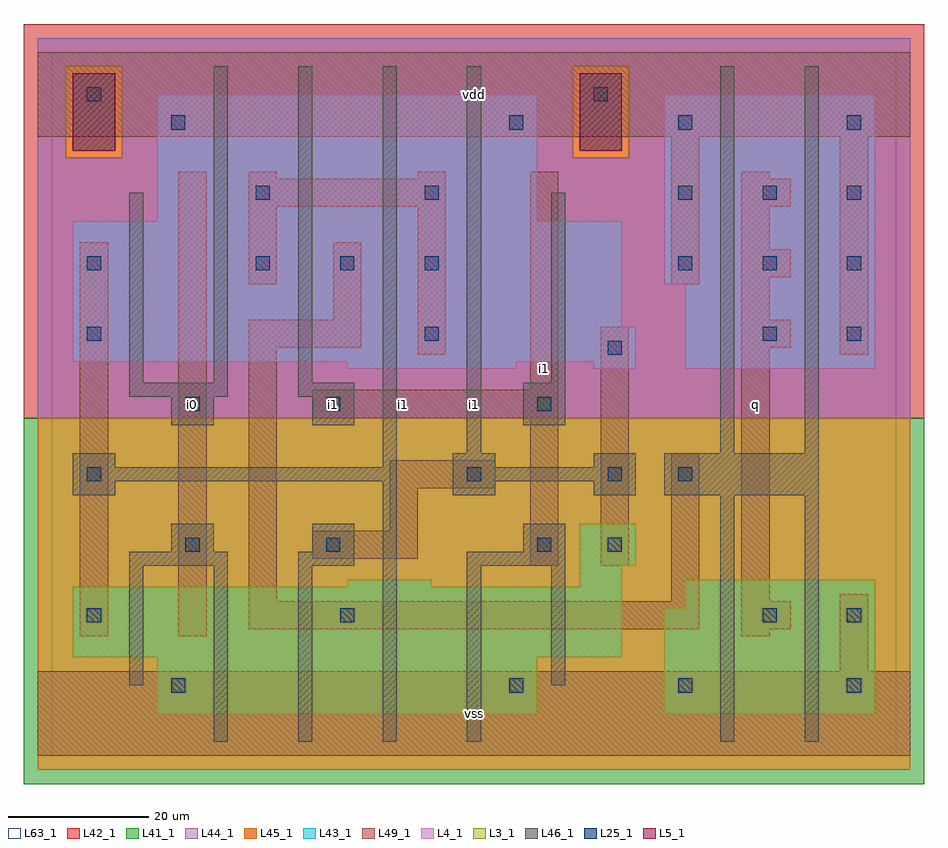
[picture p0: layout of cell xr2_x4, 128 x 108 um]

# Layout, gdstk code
import gdstk
lib = gdstk.Library(unit=1e-6, precision=1e-09)
def R(c, l, rs):  # rectangles x0, y0, x1, y1
    for r in rs: c.add(gdstk.rectangle(r[:2], r[2:], *l))
def A(c, l, x, y, w, h, nx, ny, dx, dy):  # array of equal rectangles
    R(c, l, [(x+i*dx, y+j*dy, x+i*dx+w, y+j*dy+h) for i in range(nx) for j in range(ny)])
L3_1 = (3, 1)
L4_1 = (4, 1)
L5_1 = (5, 1)
L25_1 = (25, 1)
L41_1 = (41, 1)
L42_1 = (42, 1)
L43_1 = (43, 1)
L44_1 = (44, 1)
L45_1 = (45, 1)
L46_1 = (46, 1)
L49_1 = (49, 1)
L63_1 = (63, 1)

xr2_x4 = lib.new_cell('xr2_x4')
R(xr2_x4, L3_1, [(15,6,69,14), (87,6,117,21), (3,14,81,24), (90,21,117,25), (42,24,54,25), (75,24,81,27), (75,27,83,33)])
R(xr2_x4, L4_1, [(42,55,66,56), (77,55,83,56), (90,55,117,67), (3,56,83,61), (3,61,81,76), (87,67,117,94), (15,76,69,94)])
R(xr2_x4, L5_1, [(3,86,9,97), (75,86,81,97)])
A(xr2_x4, L25_1, 65, 9, 2, 2, 3, 2, 24, 80)
A(xr2_x4, L25_1, 5, 59, 2, 2, 3, 1, 48, 0)
A(xr2_x4, L25_1, 29, 69, 2, 2, 3, 1, 12, 0)
A(xr2_x4, L25_1, 89, 69, 2, 2, 3, 2, 12, 10)
R(xr2_x4, L25_1, [(17,9,19,11), (5,19,7,21), (41,19,43,21), (101,19,103,21), (113,19,115,21), (19,29,21,31), (39,29,41,31), (69,29,71,31), (79,29,81,31), (5,39,7,41), (59,39,61,41), (79,39,81,41), (89,39,91,41), (19,49,21,51), (39,49,41,51), (69,49,71,51), (79,57,81,59), (113,59,115,61), (5,69,7,71), (29,79,31,81), (53,79,55,81), (17,89,19,91), (5,93,7,95), (77,93,79,95)])
R(xr2_x4, L41_1, [(-4,-4,124,48)])
R(xr2_x4, L42_1, [(-4,48,124,104)])
R(xr2_x4, L43_1, [(15,6,69,14), (87,6,117,21), (3,14,81,24), (90,21,117,25), (42,24,54,25), (75,24,81,27), (75,27,83,33), (42,55,66,56), (77,55,83,56), (90,55,117,67), (3,56,83,61), (3,61,81,76), (87,67,117,94), (15,76,69,94), (3,86,9,97), (75,86,81,97)])
R(xr2_x4, L44_1, [(-2,48,122,85), (-2,85,2,98), (10,85,74,98), (82,85,122,98), (-2,98,122,102)])
R(xr2_x4, L45_1, [(-2,-2,122,48), (2,85,10,98), (74,85,82,98)])
R(xr2_x4, L46_1, [(23,2,25,27), (35,2,37,27), (47,2,49,39), (59,2,61,27), (95,2,97,37), (107,2,109,37), (11,10,13,27), (71,10,73,27), (11,27,25,29), (35,27,43,29), (59,27,73,29), (17,29,23,33), (37,29,43,33), (67,29,73,33), (3,37,9,39), (57,37,63,39), (77,37,83,39), (87,37,109,43), (3,39,49,41), (57,39,83,41), (3,41,9,43), (47,41,49,98), (57,41,63,43), (77,41,83,43), (59,43,61,98), (95,43,97,98), (107,43,109,98), (17,47,23,51), (37,47,43,51), (67,47,73,53), (11,51,25,53), (35,51,43,53), (11,53,13,80), (23,53,25,98), (35,53,37,98), (71,53,73,80)])
A(xr2_x4, L49_1, 98, 58, 7, 4, 1, 3, 0, 10)
R(xr2_x4, L49_1, [(-2,0,122,12), (112,12,116,23), (4,17,8,73), (18,17,22,83), (98,17,102,18), (28,18,92,22), (98,18,105,22), (28,22,32,58), (88,22,92,43), (98,22,102,58), (68,27,72,48), (78,27,82,61), (37,28,52,32), (48,32,52,38), (48,38,63,42), (37,48,72,52), (68,52,72,83), (52,57,56,78), (112,57,116,88), (28,58,44,62), (40,62,44,73), (98,62,102,68), (28,67,32,78), (88,67,92,88), (98,72,102,78), (28,78,56,82), (28,82,32,83), (52,82,56,83), (98,82,102,83), (-2,88,122,100)])
R(xr2_x4, L63_1, [(0,0,120,100)])
xr2_x4.add(gdstk.Label('i0', (20,50), layer=49, texttype=1))
xr2_x4.add(gdstk.Label('i1', (40,50), layer=49, texttype=1))
xr2_x4.add(gdstk.Label('vss', (60,6), layer=49, texttype=1))
xr2_x4.add(gdstk.Label('i1', (50,50), layer=49, texttype=1))
xr2_x4.add(gdstk.Label('i1', (60,50), layer=49, texttype=1))
xr2_x4.add(gdstk.Label('vdd', (60,94), layer=49, texttype=1))
xr2_x4.add(gdstk.Label('i1', (70,55), layer=49, texttype=1))
xr2_x4.add(gdstk.Label('q', (100,50), layer=49, texttype=1))

lib.write_gds('xr2_x4.gds')
